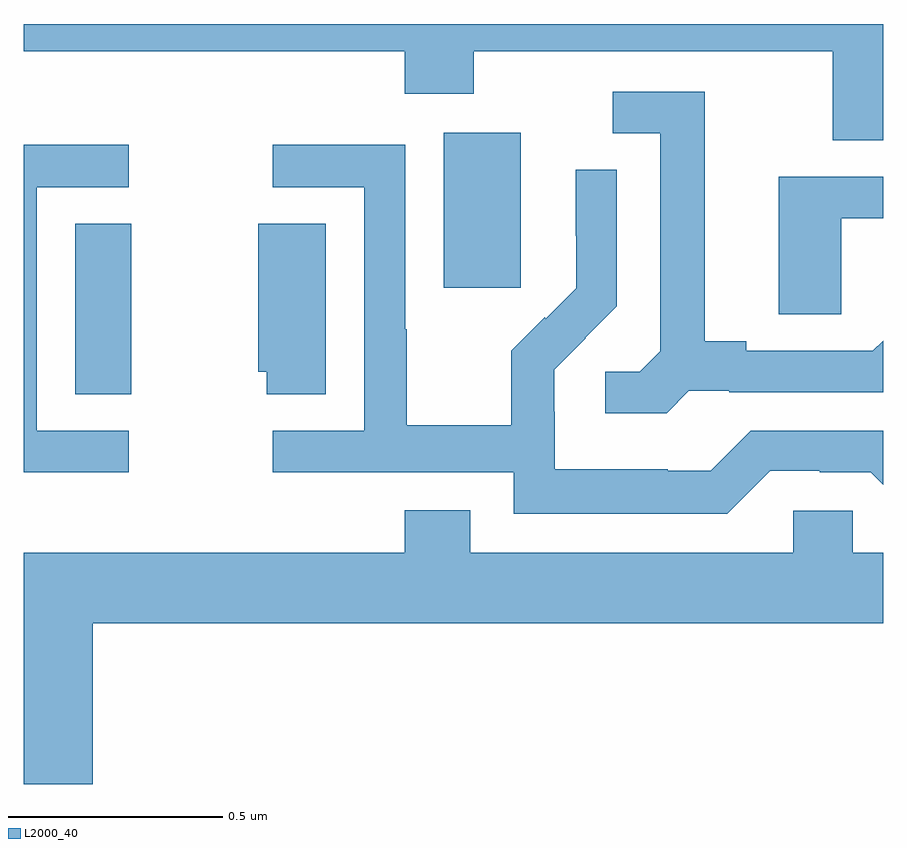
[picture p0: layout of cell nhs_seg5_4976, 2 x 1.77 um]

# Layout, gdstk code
import gdstk
lib = gdstk.Library(unit=1e-6, precision=1e-09)
def R(c, l, rs):  # rectangles x0, y0, x1, y1
    for r in rs: c.add(gdstk.rectangle(r[:2], r[2:], *l))
def P(c, l, *ps):  # polygons
    for p in ps: c.add(gdstk.Polygon(p, *l))
L2000_40 = (2000, 40)

nhs_seg5_4976 = lib.new_cell('nhs_seg5_4976')
R(nhs_seg5_4976, L2000_40, [(177.119,879.937,177.25,880.334), (177.977,880.185,178.156,880.546)])
P(nhs_seg5_4976, L2000_40, [(179,880.799),(177,880.799),(177,880.736),(177.887,880.736),(177.887,880.637),(178.047,880.637),(178.047,880.736),(178.883,880.736),(178.883,880.528),(179,880.528)],
  [(178.548,879.945),(178.642,879.945),(178.642,879.942),(179,879.942),(179,880.062),(178.976,880.038),(178.681,880.038),(178.681,880.061),(178.585,880.061),(178.585,880.641),(178.371,880.641),(178.371,880.545),(178.481,880.545),(178.481,880.037),(178.434,879.99),(178.353,879.99),(178.353,879.893),(178.496,879.893)],
  [(178.737,879.759),(178.853,879.759),(178.853,879.756),(178.971,879.756),(179,879.727),(179,879.852),(178.692,879.852),(178.599,879.759),(178.499,879.759),(178.499,879.763),(178.236,879.763),(178.236,879.897),(178.234,879.897),(178.234,879.994),(178.308,880.068),(178.307,880.069),(178.38,880.142),(178.38,880.46),(178.284,880.46),(178.284,880.306),(178.286,880.306),(178.286,880.184),(178.215,880.113),(178.212,880.116),(178.135,880.039),(178.135,879.865),(177.891,879.865),(177.891,880.088),(177.888,880.088),(177.888,880.518),(177.579,880.518),(177.579,880.419),(177.792,880.419),(177.792,879.852),(177.579,879.852),(177.579,879.756),(178.14,879.756),(178.14,879.659),(178.637,879.659)],
  [(177.244,879.852),(177.03,879.852),(177.03,880.419),(177.244,880.419),(177.244,880.518),(177,880.518),(177,879.756),(177.244,879.756)],
  [(178.902,880.347),(179,880.347),(179,880.443),(178.757,880.443),(178.757,880.123),(178.902,880.123)],
  [(177.703,880.334),(177.545,880.334),(177.545,879.99),(177.565,879.99),(177.565,879.937),(177.703,879.937)],
  [(177.16,879.404),(179,879.404),(179,879.568),(178.929,879.568),(178.929,879.666),(178.791,879.666),(178.791,879.568),(178.039,879.568),(178.039,879.667),(177.887,879.667),(177.887,879.568),(177,879.568),(177,879.03),(177.16,879.03)])

lib.write_gds('nhs_seg5_4976.gds')
